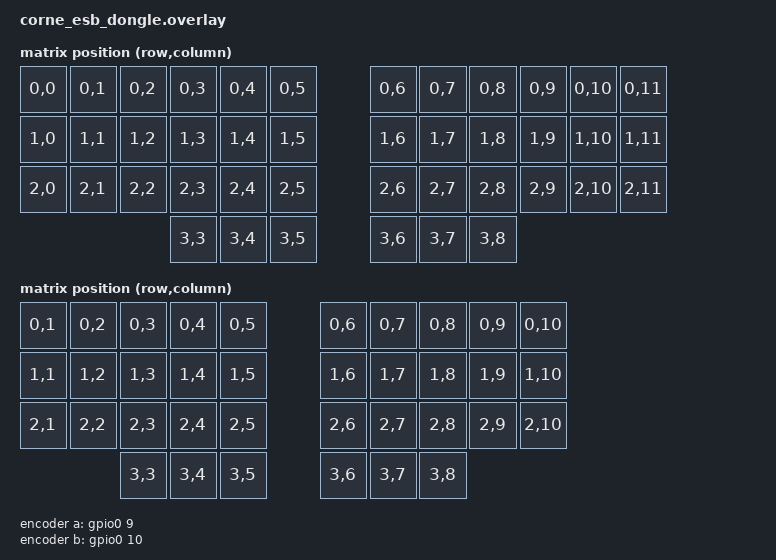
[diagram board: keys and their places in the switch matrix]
/*
 * Copyright (c) 2025 The ZMK Contributors
 *
 * SPDX-License-Identifier: MIT
 *
 * Corne ESB Dongle：无按键的 USB 接收器（split central）。
 *
 * dongle 自己没有按键矩阵，所以用 zmk,kscan-mock 顶替 kscan；但 matrix transform
 * 和 physical layout 必须与左右手完全一致（连节点名都一样），central 才能把
 * peripheral 上报的 key position 正确映射成按键行为。
 * 下面的 transform / layout 复制自 ZMK 官方的 app/boards/shields/corne/corne.dtsi。
 *
 * ESB 地址不在这个文件里，而在 config/corne.overlay（三个固件共用一份）。
 */

#include <dt-bindings/zmk/matrix_transform.h>

#include <layouts/foostan/corne/5column.dtsi>
#include <layouts/foostan/corne/6column.dtsi>

&foostan_corne_6col_layout {
    transform = <&default_transform>;
};

&foostan_corne_5col_layout {
    transform = <&five_column_transform>;
};

/ {
    chosen {
        zmk,kscan = &mock_kscan;
        zmk,physical-layout = &foostan_corne_6col_layout;
        // 想默认用 36 键（5 列）布局就换成：
        // zmk,physical-layout = &foostan_corne_5col_layout;
    };

    // dongle 没有实体按键
    mock_kscan: mock_kscan_0 {
        compatible = "zmk,kscan-mock";
        columns = <0>;
        rows = <0>;
        events = <0>;
    };

    default_transform: keymap_transform_0 {
        compatible = "zmk,matrix-transform";
        columns = <12>;
        rows = <4>;
// | SW1  | SW2  | SW3  | SW4  | SW5  | SW6  |   | SW6  | SW5  | SW4  | SW3  | SW2  | SW1  |
// | SW7  | SW8  | SW9  | SW10 | SW11 | SW12 |   | SW12 | SW11 | SW10 | SW9  | SW8  | SW7  |
// | SW13 | SW14 | SW15 | SW16 | SW17 | SW18 |   | SW18 | SW17 | SW16 | SW15 | SW14 | SW13 |
//                      | SW19 | SW20 | SW21 |   | SW21 | SW20 | SW19 |
        map = <
RC(0,0) RC(0,1) RC(0,2) RC(0,3) RC(0,4) RC(0,5)  RC(0,6) RC(0,7) RC(0,8) RC(0,9) RC(0,10) RC(0,11)
RC(1,0) RC(1,1) RC(1,2) RC(1,3) RC(1,4) RC(1,5)  RC(1,6) RC(1,7) RC(1,8) RC(1,9) RC(1,10) RC(1,11)
RC(2,0) RC(2,1) RC(2,2) RC(2,3) RC(2,4) RC(2,5)  RC(2,6) RC(2,7) RC(2,8) RC(2,9) RC(2,10) RC(2,11)
                        RC(3,3) RC(3,4) RC(3,5)  RC(3,6) RC(3,7) RC(3,8)
        >;
    };

    five_column_transform: keymap_transform_1 {
        compatible = "zmk,matrix-transform";
        columns = <10>;
        rows = <4>;
// | SW2  | SW3  | SW4  | SW5  | SW6  |   | SW6  | SW5  | SW4  | SW3  | SW2  |
// | SW8  | SW9  | SW10 | SW11 | SW12 |   | SW12 | SW11 | SW10 | SW9  | SW8  |
// | SW14 | SW15 | SW16 | SW17 | SW18 |   | SW18 | SW17 | SW16 | SW15 | SW14 |
//               | SW19 | SW20 | SW21 |   | SW21 | SW20 | SW19 |
        map = <
RC(0,1) RC(0,2) RC(0,3) RC(0,4) RC(0,5)  RC(0,6) RC(0,7) RC(0,8) RC(0,9) RC(0,10)
RC(1,1) RC(1,2) RC(1,3) RC(1,4) RC(1,5)  RC(1,6) RC(1,7) RC(1,8) RC(1,9) RC(1,10)
RC(2,1) RC(2,2) RC(2,3) RC(2,4) RC(2,5)  RC(2,6) RC(2,7) RC(2,8) RC(2,9) RC(2,10)
                        RC(3,3) RC(3,4) RC(3,5)  RC(3,6) RC(3,7) RC(3,8)
        >;
    };
};

/*
 * === 鼠标（Lariska）===
 *
 * 鼠标在 ESB 网络里是一个 peripheral，两路信息分别走两条通道：
 *
 *  A. 指针移动 / 滚轮：input 事件
 *     鼠标把它自己的输入设备（paw3395、编码器）通过 zmk,input-split 上报，
 *     dongle 侧必须有 **reg 相同** 的 zmk,input-split 节点才能收到：
 *       - reg = 4 → 指针（鼠标固件 lariska.overlay 里的 mou0_split）
 *     收到以后由下面的 zmk,input-listener 接管，走 ZMK pointing 变成
 *     USB HID 鼠标报文。
 *
 *  B. 5 个鼠标按键：key position（键位事件）
 *     鼠标保持它原本的 gpio-direct kscan 不动，上报的是位置 0~4；
 *     dongle 侧的 config/corne.keymap 把这 5 个位置解释成
 *     LCLK / RCLK / MCLK / MB4 / MB5 —— 也就是说"鼠标按键"完全在
 *     keymap 里定义（Corne 自己的 42 键因此被挤到 5~46，见 config/corne.overlay）。
 *
 * 滚轮需要 dongle 侧存在一个 zmk,keymap-sensors 节点（数量与鼠标的传感器
 * 数量一致），下面的"占位编码器"就是干这个的。
 *
 * 另外 config/corne_esb_dongle.conf 里还要有：
 *      CONFIG_ZMK_POINTING=y / CONFIG_ZMK_INPUT_SPLIT=y
 *      CONFIG_ZMK_SPLIT_ESB_PERIPHERAL_COUNT > 鼠标的 PERIPHERAL_ID
 *      CONFIG_EC11=y / CONFIG_EC11_TRIGGER_GLOBAL_THREAD=y
 */
/ {
    split_inputs {
        #address-cells = <1>;
        #size-cells = <0>;

        /* 指针（paw3395）：鼠标固件里 mou0_split 的 reg = 4 */
        mouse_split: mouse_split@4 {
            compatible = "zmk,input-split";
            reg = <4>;
        };
    };

    mouse_listener: mouse_listener {
        compatible = "zmk,input-listener";
        status = "okay";
        device = <&mouse_split>;

        // 需要修正方向 / 缩放时在这里加 input-processors，例如：
        // input-processors = <&zip_xy_transform (INPUT_TRANSFORM_XY_SWAP
        //                                        | INPUT_TRANSFORM_X_INVERT)>;
    };

    /*
     * 占位编码器：dongle 自己没有滚轮，但 ZMK 的 zmk,keymap-sensors 必须指向
     * 真实的 sensor 设备；鼠标上报的 sensor 事件（index 0）会按这个顺序匹配到
     * config/corne.keymap 每层的 sensor-bindings（&rot_enc / 音量）。
     * 这里挂在 P0.09/P0.10 上 —— nice_nano 的 NFC 引脚，Corne 用不到，
     * 悬空也不会有任何输入，纯占位。
     */
    encoder: encoder {
        compatible = "alps,ec11";
        a-gpios = <&gpio0 9 (GPIO_ACTIVE_HIGH | GPIO_PULL_UP)>;
        b-gpios = <&gpio0 10 (GPIO_ACTIVE_HIGH | GPIO_PULL_UP)>;
        steps = <48>;
        status = "okay";
    };

    sensors: sensors {
        compatible = "zmk,keymap-sensors";
        sensors = <&encoder>;
        triggers-per-rotation = <24>;
    };
};

/* P0.09 / P0.10 默认是 NFC 天线脚，要当 GPIO 用必须先声明 */
&uicr {
    nfct-pins-as-gpios;
};
